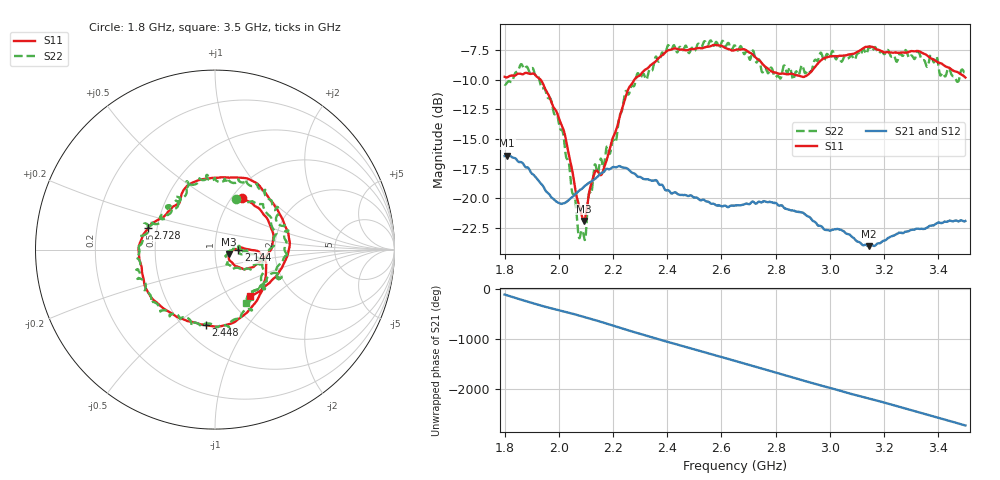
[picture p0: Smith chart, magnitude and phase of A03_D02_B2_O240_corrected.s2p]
! Created with skrf 1.9.0 (http://scikit-rf.org).
# Hz S RI R 50.0
!freq ReS11 ImS11 ReS21 ImS21 ReS12 ImS12 ReS22 ImS22
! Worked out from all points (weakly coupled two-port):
!   1601 points, 1.8 GHz to 3.5 GHz, reference 50 ohm
!   highest |S21| = -16.40 dB at 1.81 GHz (marker M1); lowest = -24.0 dB at 3.144 GHz (marker M2)
!   lowest |S11| = -21.9 dB at 2.092 GHz (marker M3), VSWR 1.17, Z = 58.2 - j2.83 ohm
!   |S11| at or under -10 dB: 1.933 GHz to 2.279 GHz (345.2 MHz wide, 16.4 % of centre)
!   |S22| runs from -23.5 to -6.7 dB; largest |S21 - S12| = 0.0025
!   S11 on the Smith chart (normalised r, x): 1.8 GHz: 1.11, +0.72; 2.144 GHz: 1.30, -0.00; 2.448 GHz: 0.64, -0.66; 2.728 GHz: 0.45, +0.12; 3.5 GHz: 1.26, -0.72
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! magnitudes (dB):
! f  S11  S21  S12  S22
! 1.8 GHz  -9.7  -16.4  -16.4  -10.4
! 1.81 GHz  -9.8  -16.4  -16.4  -10.2
! 1.902 GHz  -9.5  -17.9  -17.9  -9.0
! 1.968 GHz  -11.6  -19.8  -19.8  -11.5
! 2.014 GHz  -14.0  -20.5  -20.5  -14.3
! 2.073 GHz  -20.5  -19.4  -19.4  -23.2
! 2.084 GHz  -21.4  -19.2  -19.2  -22.7
! 2.092 GHz  -21.9  -19.0  -19.1  -23.2
! 2.13 GHz  -18.0  -18.4  -18.4  -17.4
! 2.144 GHz  -17.8  -18.2  -18.1  -17.9
! 2.209 GHz  -14.4  -17.4  -17.3  -15.3
! 2.26 GHz  -10.6  -17.6  -17.6  -11.1
! 2.367 GHz  -8.2  -18.7  -18.7  -8.5
! 2.448 GHz  -7.5  -19.7  -19.7  -7.2
! 2.65 GHz  -7.5  -20.6  -20.6  -7.1
! 2.728 GHz  -8.1  -20.5  -20.5  -8.5
! 2.81 GHz  -9.5  -20.6  -20.5  -9.7
! 2.934 GHz  -9.2  -21.8  -21.8  -9.2
! 3.144 GHz  -7.2  -24.0  -24.0  -7.2
! 3.217 GHz  -7.7  -23.3  -23.3  -7.6
! 3.469 GHz  -9.3  -21.9  -21.9  -10.1
! 3.5 GHz  -9.8  -21.9  -21.9  -9.3
